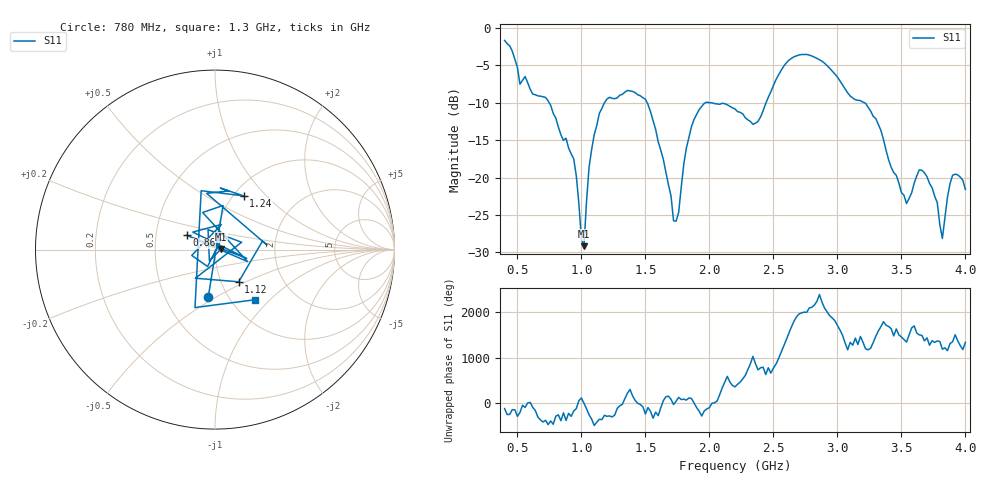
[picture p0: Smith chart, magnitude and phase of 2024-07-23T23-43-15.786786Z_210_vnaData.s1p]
!Created with skrf (http://scikit-rf.org).
# Hz S RI R 50.0
!freq ReS11 ImS11
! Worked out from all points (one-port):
!   181 points, 400 MHz to 4 GHz, reference 50 ohm
!   lowest |S11| = -29.2 dB at 1.02 GHz (marker M1), VSWR 1.07, Z = 53.6 + j0.365 ohm
!   |S11| at or under -10 dB: 749.1 MHz to 1.18 GHz (430.6 MHz wide, 44.7 % of centre); 1.514 GHz to 1.968 GHz (453.8 MHz wide, 26.1 % of centre); 3.213 GHz to end of sweep (the widest 3 of 4)
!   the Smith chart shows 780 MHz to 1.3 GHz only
!   S11 on the Smith chart (normalised r, x): 780 MHz: 0.81, -0.46; 860 MHz: 0.72, +0.12; 1.12 GHz: 1.21, -0.46; 1.24 GHz: 1.11, +0.75; 1.3 GHz: 1.27, -0.82
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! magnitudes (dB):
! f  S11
! 400 MHz  -1.6
! 520 MHz  -7.5
! 780 MHz  -11.4
! 860 MHz  -15.0
! 940 MHz  -17.5
! 1.02 GHz  -29.2
! 1.06 GHz  -18.6
! 1.12 GHz  -13.0
! 1.24 GHz  -9.4
! 1.3 GHz  -9.0
! 1.5 GHz  -9.5
! 1.64 GHz  -17.6
! 1.72 GHz  -25.8
! 1.76 GHz  -24.6
! 1.82 GHz  -16.1
! 1.92 GHz  -10.9
! 2.2 GHz  -10.8
! 2.38 GHz  -12.5
! 2.66 GHz  -3.8
! 2.88 GHz  -4.4
! 3.1 GHz  -9.1
! 3.3 GHz  -12.1
! 3.56 GHz  -22.8
! 3.68 GHz  -19.4
! 3.78 GHz  -23.3
! 3.82 GHz  -28.1
! 3.9 GHz  -19.7
! 4 GHz  -21.6
